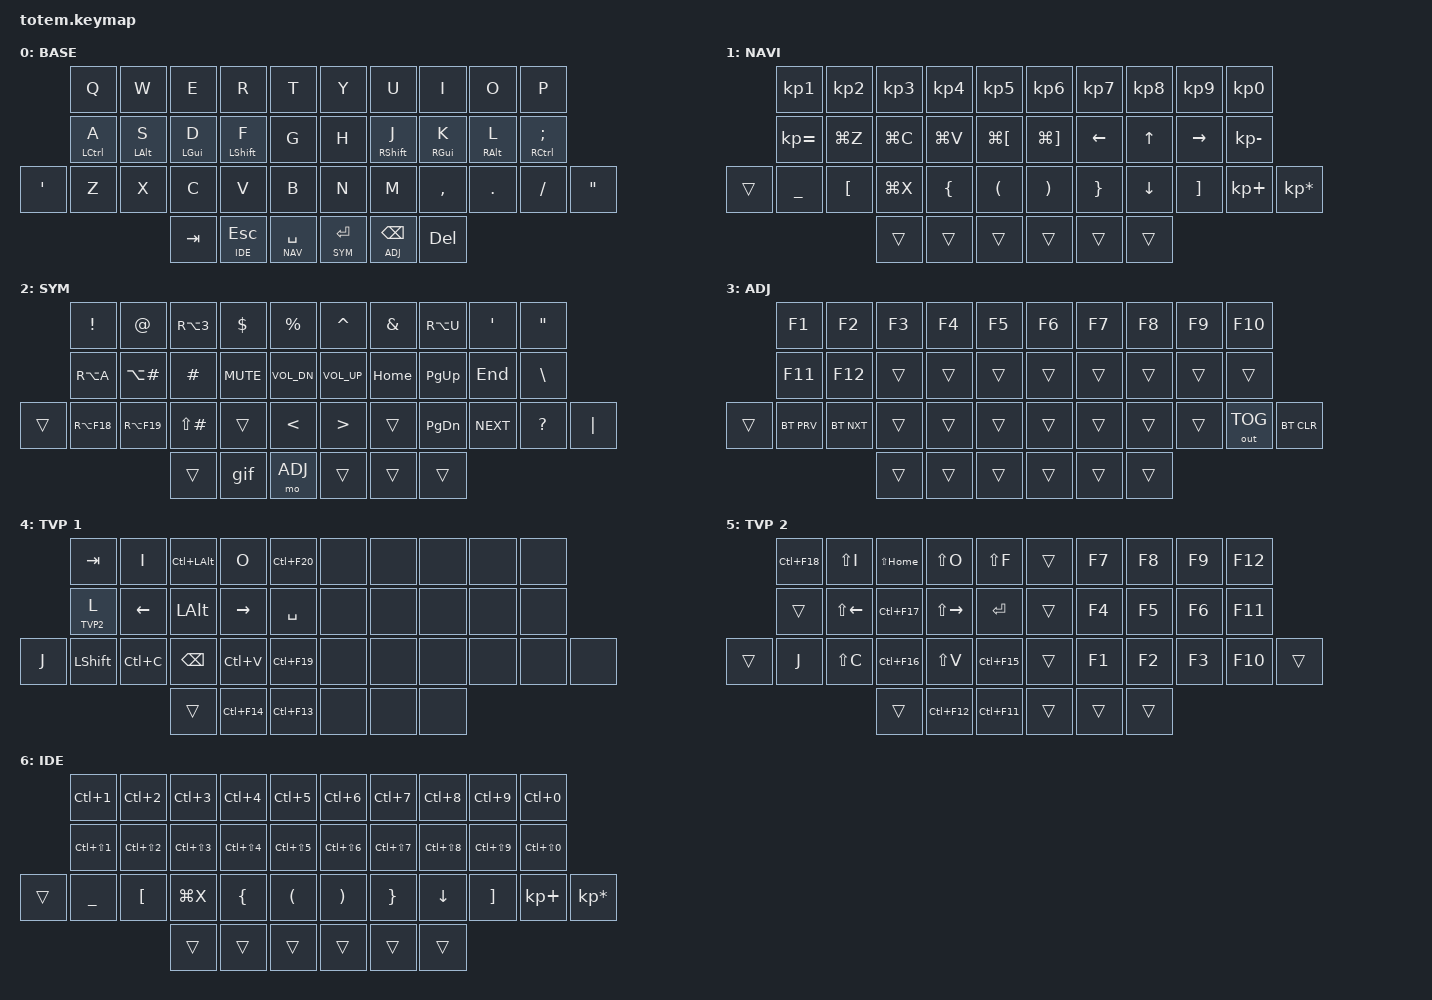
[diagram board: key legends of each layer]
//
//                                                        ▀▀▀▀▀     ▀▀▀▀▀          ▀▀█▀▀
//                                                        ▄▀▀▀▄  ▄  ▄▀▀▀▄  ▄  ▄▀▀▀▄  █  ▄▀▀▀▄
//                                                        █   █  █  █   █  █  █   █  █  █   █
//                                                         ▀▀▀   █   ▀▀▀   █   ▀▀▀   ▀   ▀▀▀
//                                                               █      ▄▄▄█▄▄▄    █   █  
//                                                               ▀      █  █  █     █▄█
//                                                             ▀▀▀▀▀    █  █  █      ▀
//                                                                      ▀  ▀  ▀
//
// ▄▄▄▄▄▄▄▄▄▄▄▄▄▄▄▄▄▄▄▄▄▄▄▄▄▄▄▄▄▄▄▄▄▄▄▄▄▄▄▄▄▄▄▄▄▄▄▄▄▄▄▄▄▄▄▄▄▄▄▄▄▄▄▄▄▄▄▄▄▄▄▄▄▄▄▄▄▄▄▄▄▄▄▄▄▄▄▄▄▄▄▄▄▄▄▄▄▄▄▄▄▄▄▄▄▄▄▄▄▄▄▄▄▄▄▄▄▄▄▄▄▄▄▄▄▄▄▄▄▄▄▄▄▄▄▄▄▄▄▄▄▄▄▄▄▄▄▄▄
       

#include <behaviors.dtsi>
#include <dt-bindings/zmk/keys.h>
#include <dt-bindings/zmk/bt.h>
#include <dt-bindings/zmk/outputs.h>

#define BASE 0
#define NAV  1
#define SYM  2
#define ADJ  3
#define TVP1 4
#define TVP2 5
#define IDE  6

&mt {
  quick-tap-ms = <100>;
  global-quick-tap;
  flavor = "tap-preferred";
  tapping-term-ms = <170>;
};

&lt {
  quick-tap-ms = <200>;
};

/ {
     combos {
            compatible = "zmk,combos";
            combo_esc {
                timeout-ms = <50>;
                key-positions = <0 1>;
                bindings = <&kp ESC>;
            };
            combo_tvp {
                timeout-ms = <100>;
                key-positions = <11 12 13>;
                bindings = <&tog TVP1>;
            };
    };

    macros {
        gif: gif {
            label = "giphy";
            compatible = "zmk,behavior-macro";
            #binding-cells = <0>;
            bindings
                = <&macro_press &kp LSHFT>
                , <&macro_tap &kp N2>
                , <&macro_release &kp LSHFT>
                , <&macro_tap &kp G &kp I &kp F>
                ;
        };
    };

        keymap {
                compatible = "zmk,keymap";
// Missing features
// * control + y for deleting an entire line
// * selecting text with shift and cursor keys
// * multiple keypresses when key is being hold
// * revert of undo (control + shift + z)  redo
// * control + shift + arrow key doesn't work for moving cursor an entire word at a time
// * paste without format (control + shift + v)
// ▄▄▄▄▄▄▄▄▄▄▄▄▄▄▄▄▄▄▄▄▄▄▄▄▄▄▄▄▄▄▄▄▄▄▄▄▄▄▄▄▄▄▄▄▄▄▄▄▄▄▄▄▄▄▄▄▄▄▄▄▄▄▄▄▄▄▄▄▄▄▄▄▄▄▄▄▄▄▄▄▄▄▄▄▄▄▄▄▄▄▄▄▄▄▄▄▄▄▄▄▄▄▄▄▄▄▄▄▄▄▄▄▄▄▄▄▄▄▄▄▄▄▄▄▄▄▄▄▄▄▄▄▄▄▄▄▄▄▄▄▄▄▄▄▄▄▄▄▄

                base_layer {
// ┏━━━━━━━━━━━━━━━━━━━━━━━━━━━━━━━━━━━━━━━┓
label= "BASE"                              ;
// ┗━━━━━━━━━━━━━━━━━━━━━━━━━━━━━━━━━━━━━━━┛
//             ┏━━━━━━━━━━━┳━━━━━━━━━━━┳━━━━━━━━━━━┳━━━━━━━━━━━┳━━━━━━━━━━━┓   ┏━━━━━━━━━━━┳━━━━━━━━━━━┳━━━━━━━━━━━┳━━━━━━━━━━━┳━━━━━━━━━━━┓
//             ┃     Q     ┃     W     ┃     E     ┃     R     ┃     T     ┃   ┃     Y     ┃     U     ┃     I     ┃     O     ┃     P     ┃
//             ┣━━━━━━━━━━━╋━━━━━━━━━━━╋━━━━━━━━━━━╋━━━━━━━━━━━╋━━━━━━━━━━━┫   ┣━━━━━━━━━━━╋━━━━━━━━━━━╋━━━━━━━━━━━╋━━━━━━━━━━━╋━━━━━━━━━━━┫
//             ┃     A     ┃     S     ┃     D     ┃     F     ┃     G     ┃   ┃     H     ┃     J     ┃     K     ┃     L     ┃     ;     ┃
// ┏━━━━━━━━━━━╋━━━━━━━━━━━╋━━━━━━━━━━━╋━━━━━━━━━━━╋━━━━━━━━━━━╋━━━━━━━━━━━┫   ┣━━━━━━━━━━━╋━━━━━━━━━━━╋━━━━━━━━━━━╋━━━━━━━━━━━╋━━━━━━━━━━━╋━━━━━━━━━━━┓
// ┃     '     ┃     Z     ┃     X     ┃     C     ┃     V     ┃     B     ┃   ┃     N     ┃     M     ┃     ,     ┃     .     ┃     /     ┃     "     ┃
// ┗━━━━━━━━━━━┻━━━━━━━━━━━┻━━━━━━━━━━━╋━━━━━━━━━━━╋━━━━━━━━━━━╋━━━━━━━━━━━┫   ┣━━━━━━━━━━━╋━━━━━━━━━━━╋━━━━━━━━━━━╋━━━━━━━━━━━┻━━━━━━━━━━━┻━━━━━━━━━━━┛
//                                     ┃     TAB   ┃    ESC    ┃    SPC    ┃   ┃   ENTER   ┃    BSPC   ┃    DEL    ┃
//                                     ┗━━━━━━━━━━━┻━━━━━━━━━━━┻━━━━━━━━━━━┛   ┗━━━━━━━━━━━┻━━━━━━━━━━━┻━━━━━━━━━━━┛
 bindings = <
// ╷           ╷           ╷           ╷           ╷           ╷           ╷   ╷           ╷           ╷           ╷           ╷           ╷           ╷

                &kp Q       &kp W       &kp E       &kp R       &kp T           &kp Y       &kp U       &kp I       &kp O       &kp P
                &mt LCTRL A &mt LALT S  &mt LGUI D  &mt LSHFT F &kp G           &kp H       &mt RSHFT J &mt RGUI K  &mt RALT L  &mt RCTRL SEMICOLON
    &kp SQT     &kp Z       &kp X       &kp C       &kp V       &kp B           &kp N       &kp M       &kp COMMA   &kp DOT     &kp FSLH    &kp DQT
                                        &kp TAB     &lt IDE ESC &lt NAV SPACE   &lt SYM RET &lt ADJ BSPC &kp DEL
                        >;
                };

// ▄▄▄▄▄▄▄▄▄▄▄▄▄▄▄▄▄▄▄▄▄▄▄▄▄▄▄▄▄▄▄▄▄▄▄▄▄▄▄▄▄▄▄▄▄▄▄▄▄▄▄▄▄▄▄▄▄▄▄▄▄▄▄▄▄▄▄▄▄▄▄▄▄▄▄▄▄▄▄▄▄▄▄▄▄▄▄▄▄▄▄▄▄▄▄▄▄▄▄▄▄▄▄▄▄▄▄▄▄▄▄▄▄▄▄▄▄▄▄▄▄▄▄▄▄▄▄▄▄▄▄▄▄▄▄▄▄▄▄▄▄▄▄▄▄▄▄▄▄

                nav_layer {
// ┏━━━━━━━━━━━━━━━━━━━━━━━━━━━━━━━━━━━━━━━┓
label= "NAVI"                              ;
// ┗━━━━━━━━━━━━━━━━━━━━━━━━━━━━━━━━━━━━━━━┛
//             ┏━━━━━━━━━━━┳━━━━━━━━━━━┳━━━━━━━━━━━┳━━━━━━━━━━━┳━━━━━━━━━━━┓   ┏━━━━━━━━━━━┳━━━━━━━━━━━┳━━━━━━━━━━━┳━━━━━━━━━━━┳━━━━━━━━━━━┓
//             ┃     1     ┃     2     ┃     3     ┃     4     ┃     5     ┃   ┃     6     ┃     7     ┃     8     ┃     9     ┃     0     ┃
//             ┣━━━━━━━━━━━╋━━━━━━━━━━━╋━━━━━━━━━━━╋━━━━━━━━━━━╋━━━━━━━━━━━┫   ┣━━━━━━━━━━━╋━━━━━━━━━━━╋━━━━━━━━━━━╋━━━━━━━━━━━╋━━━━━━━━━━━┫
//             ┃     =     ┃   UNDO    ┃   COPY    ┃   PASTE   ┃   LAST    ┃   ┃   NEXT    ┃   LEFT    ┃     UP    ┃   RIGHT   ┃     -     ┃
// ┏━━━━━━━━━━━╋━━━━━━━━━━━╋━━━━━━━━━━━╋━━━━━━━━━━━╋━━━━━━━━━━━╋━━━━━━━━━━━┫   ┣━━━━━━━━━━━╋━━━━━━━━━━━╋━━━━━━━━━━━╋━━━━━━━━━━━╋━━━━━━━━━━━╋━━━━━━━━━━━┓
// ┃           ┃     _     ┃     [     ┃    CUT    ┃     {     ┃     (     ┃   ┃     )     ┃     }     ┃    DOWN   ┃     ]     ┃     +     ┃     *     ┃
// ┗━━━━━━━━━━━┻━━━━━━━━━━━┻━━━━━━━━━━━╋━━━━━━━━━━━╋━━━━━━━━━━━╋━━━━━━━━━━━┫   ┣━━━━━━━━━━━╋━━━━━━━━━━━╋━━━━━━━━━━━╋━━━━━━━━━━━┻━━━━━━━━━━━┻━━━━━━━━━━━┛
//                                     ┃           ┃           ┃           ┃   ┃           ┃           ┃           ┃
//                                     ┗━━━━━━━━━━━┻━━━━━━━━━━━┻━━━━━━━━━━━┛   ┗━━━━━━━━━━━┻━━━━━━━━━━━┻━━━━━━━━━━━┛
 bindings = <
// ╷           ╷           ╷           ╷           ╷           ╷           ╷   ╷           ╷           ╷           ╷           ╷           ╷           ╷

                &kp KP_N1   &kp KP_N2   &kp KP_N3   &kp KP_N4   &kp KP_N5       &kp KP_N6   &kp KP_N7   &kp KP_N8   &kp KP_N9   &kp KP_N0
                &kp KP_EQUAL &kp LG(Z)   &kp LG(C)  &kp LG(V)   &kp LG(LBKT)    &kp LG(RBKT)  &kp LEFT    &kp UP      &kp RIGHT   &kp KP_MINUS
    &trans      &kp UNDER   &kp LBKT    &kp LG(X)   &kp LBRC    &kp LPAR        &kp RPAR    &kp RBRC    &kp DOWN    &kp RBKT    &kp KP_PLUS &kp KP_MULTIPLY
                                        &trans      &trans      &trans          &trans      &trans      &trans
                        >;
                };

// ▄▄▄▄▄▄▄▄▄▄▄▄▄▄▄▄▄▄▄▄▄▄▄▄▄▄▄▄▄▄▄▄▄▄▄▄▄▄▄▄▄▄▄▄▄▄▄▄▄▄▄▄▄▄▄▄▄▄▄▄▄▄▄▄▄▄▄▄▄▄▄▄▄▄▄▄▄▄▄▄▄▄▄▄▄▄▄▄▄▄▄▄▄▄▄▄▄▄▄▄▄▄▄▄▄▄▄▄▄▄▄▄▄▄▄▄▄▄▄▄▄▄▄▄▄▄▄▄▄▄▄▄▄▄▄▄▄▄▄▄▄▄▄▄▄▄▄▄▄


                sim_layer {
// ┏━━━━━━━━━━━━━━━━━━━━━━━━━━━━━━━━━━━━━━━┓
label= "SYM"                               ;
// ┗━━━━━━━━━━━━━━━━━━━━━━━━━━━━━━━━━━━━━━━┛
//             ┏━━━━━━━━━━━┳━━━━━━━━━━━┳━━━━━━━━━━━┳━━━━━━━━━━━┳━━━━━━━━━━━┓   ┏━━━━━━━━━━━┳━━━━━━━━━━━┳━━━━━━━━━━━┳━━━━━━━━━━━┳━━━━━━━━━━━┓
//             ┃     !     ┃     @     ┃     #     ┃     $     ┃     %     ┃   ┃     ˆ     ┃     &     ┃     Ü     ┃     '     ┃     "     ┃
//             ┣━━━━━━━━━━━╋━━━━━━━━━━━╋━━━━━━━━━━━╋━━━━━━━━━━━╋━━━━━━━━━━━┫   ┣━━━━━━━━━━━╋━━━━━━━━━━━╋━━━━━━━━━━━╋━━━━━━━━━━━╋━━━━━━━━━━━┫
//             ┃     Ä     ┃           ┃     £     ┃   MUTE    ┃   VOL-    ┃   ┃   VOL+    ┃   HOME    ┃   PG_UP   ┃    END    ┃     \     ┃
// ┏━━━━━━━━━━━╋━━━━━━━━━━━╋━━━━━━━━━━━╋━━━━━━━━━━━╋━━━━━━━━━━━╋━━━━━━━━━━━┫   ┣━━━━━━━━━━━╋━━━━━━━━━━━╋━━━━━━━━━━━╋━━━━━━━━━━━╋━━━━━━━━━━━╋━━━━━━━━━━━┓
// ┃           ┃  EMAIL1   ┃  EMAIL2   ┃           ┃           ┃    <      ┃   ┃     >     ┃           ┃   PG_DN   ┃   NEXT    ┃     ?     ┃     |     ┃
// ┗━━━━━━━━━━━┻━━━━━━━━━━━┻━━━━━━━━━━━╋━━━━━━━━━━━╋━━━━━━━━━━━╋━━━━━━━━━━━┫   ┣━━━━━━━━━━━╋━━━━━━━━━━━╋━━━━━━━━━━━╋━━━━━━━━━━━┻━━━━━━━━━━━┻━━━━━━━━━━━┛
//                                     ┃           ┃    GIF    ┃    ADJ    ┃   ┃           ┃           ┃           ┃
//                                     ┗━━━━━━━━━━━┻━━━━━━━━━━━┻━━━━━━━━━━━┛   ┗━━━━━━━━━━━┻━━━━━━━━━━━┻━━━━━━━━━━━┛
 bindings = <
// ╷           ╷           ╷           ╷           ╷           ╷           ╷   ╷           ╷           ╷           ╷           ╷           ╷           ╷

                &kp EXCL    &kp AT      &kp RA(N3)   &kp DLLR   &kp PRCNT       &kp CARET   &kp AMPS    &kp RA(U)   &kp SQT     &kp DQT
                &kp RA(A)   &kp LA(HASH) &kp HASH    &kp C_MUTE  &kp C_VOL_DN    &kp C_VOL_UP  &kp HOME  &kp PG_UP   &kp END     &kp BSLH
    &trans      &kp RA(F18) &kp RA(F19) &kp LS(HASH)     &trans      &kp LT          &kp GT      &trans      &kp PG_DN   &kp C_NEXT  &kp QMARK   &kp PIPE
                                        &trans      &gif        &mo ADJ         &trans      &trans      &trans
                        >;
                };

// ▄▄▄▄▄▄▄▄▄▄▄▄▄▄▄▄▄▄▄▄▄▄▄▄▄▄▄▄▄▄▄▄▄▄▄▄▄▄▄▄▄▄▄▄▄▄▄▄▄▄▄▄▄▄▄▄▄▄▄▄▄▄▄▄▄▄▄▄▄▄▄▄▄▄▄▄▄▄▄▄▄▄▄▄▄▄▄▄▄▄▄▄▄▄▄▄▄▄▄▄▄▄▄▄▄▄▄▄▄▄▄▄▄▄▄▄▄▄▄▄▄▄▄▄▄▄▄▄▄▄▄▄▄▄▄▄▄▄▄▄▄▄▄▄▄▄▄▄▄


                adjust_layer {
// ┏━━━━━━━━━━━━━━━━━━━━━━━━━━━━━━━━━━━━━━━┓
label= "ADJ"                               ;
// ┗━━━━━━━━━━━━━━━━━━━━━━━━━━━━━━━━━━━━━━━┛
//             ┏━━━━━━━━━━━┳━━━━━━━━━━━┳━━━━━━━━━━━┳━━━━━━━━━━━┳━━━━━━━━━━━┓   ┏━━━━━━━━━━━┳━━━━━━━━━━━┳━━━━━━━━━━━┳━━━━━━━━━━━┳━━━━━━━━━━━┓
//             ┃    F1     ┃    F2     ┃    F3     ┃    F4     ┃    F5     ┃   ┃    F6     ┃    F7     ┃    F8     ┃    F9     ┃    F10    ┃
//             ┣━━━━━━━━━━━╋━━━━━━━━━━━╋━━━━━━━━━━━╋━━━━━━━━━━━╋━━━━━━━━━━━┫   ┣━━━━━━━━━━━╋━━━━━━━━━━━╋━━━━━━━━━━━╋━━━━━━━━━━━╋━━━━━━━━━━━┫
//             ┃    F11    ┃    F12    ┃           ┃           ┃           ┃   ┃           ┃           ┃           ┃           ┃           ┃
// ┏━━━━━━━━━━━╋━━━━━━━━━━━╋━━━━━━━━━━━╋━━━━━━━━━━━╋━━━━━━━━━━━╋━━━━━━━━━━━┫   ┣━━━━━━━━━━━╋━━━━━━━━━━━╋━━━━━━━━━━━╋━━━━━━━━━━━╋━━━━━━━━━━━╋━━━━━━━━━━━┓
// ┃           ┃ BT PREV   ┃ BT NEXT   ┃           ┃           ┃           ┃   ┃           ┃           ┃           ┃           ┃  OUT TOG  ┃ BT CLEAR  ┃
// ┗━━━━━━━━━━━┻━━━━━━━━━━━┻━━━━━━━━━━━╋━━━━━━━━━━━╋━━━━━━━━━━━╋━━━━━━━━━━━┫   ┣━━━━━━━━━━━╋━━━━━━━━━━━╋━━━━━━━━━━━╋━━━━━━━━━━━┻━━━━━━━━━━━┻━━━━━━━━━━━┛
//                                     ┃           ┃           ┃           ┃   ┃           ┃           ┃           ┃
//                                     ┗━━━━━━━━━━━┻━━━━━━━━━━━┻━━━━━━━━━━━┛   ┗━━━━━━━━━━━┻━━━━━━━━━━━┻━━━━━━━━━━━┛
 bindings = <
// ╷           ╷           ╷           ╷           ╷           ╷           ╷   ╷           ╷           ╷           ╷           ╷           ╷           ╷

                &kp F1      &kp F2      &kp F3      &kp F4      &kp F5          &kp F6      &kp F7      &kp F8      &kp F9      &kp F10
                &kp F11     &kp F12     &trans      &trans      &trans          &trans      &trans      &trans      &trans      &trans
    &trans      &bt BT_PRV  &bt BT_NXT  &trans      &trans      &trans          &trans      &trans      &trans      &trans      &out OUT_TOG &bt BT_CLR
                                        &trans      &trans      &trans          &trans      &trans      &trans      
                        >;
                };

// ▄▄▄▄▄▄▄▄▄▄▄▄▄▄▄▄▄▄▄▄▄▄▄▄▄▄▄▄▄▄▄▄▄▄▄▄▄▄▄▄▄▄▄▄▄▄▄▄▄▄▄▄▄▄▄▄▄▄▄▄▄▄▄▄▄▄▄▄▄▄▄▄▄▄▄▄▄▄▄▄▄▄▄▄▄▄▄▄▄▄▄▄▄▄▄▄▄▄▄▄▄▄▄▄▄▄▄▄▄▄▄▄▄▄▄▄▄▄▄▄▄▄▄▄▄▄▄▄▄▄▄▄▄▄▄▄▄▄▄▄▄▄▄▄▄▄▄▄▄


                tvp1_layer {
// ┏━━━━━━━━━━━━━━━━━━━━━━━━━━━━━━━━━━━━━━━┓
label= "TVP 1"                             ;
// ┗━━━━━━━━━━━━━━━━━━━━━━━━━━━━━━━━━━━━━━━┛
//             ┏━━━━━━━━━━━┳━━━━━━━━━━━┳━━━━━━━━━━━┳━━━━━━━━━━━┳━━━━━━━━━━━┓   ┏━━━━━━━━━━━┳━━━━━━━━━━━┳━━━━━━━━━━━┳━━━━━━━━━━━┳━━━━━━━━━━━┓
//             ┃ NEXT FILE ┃ MARK IN   ┃ ROTATE    ┃ MARK OUT  ┃ SHOW SNAP ┃   ┃           ┃           ┃           ┃           ┃           ┃
//             ┣━━━━━━━━━━━╋━━━━━━━━━━━╋━━━━━━━━━━━╋━━━━━━━━━━━╋━━━━━━━━━━━┫   ┣━━━━━━━━━━━╋━━━━━━━━━━━╋━━━━━━━━━━━╋━━━━━━━━━━━╋━━━━━━━━━━━┫
//             ┃ TVP II    ┃ LEFT      ┃ PAN       ┃ RIGHT     ┃ PLAY/FLIP ┃   ┃           ┃           ┃           ┃           ┃           ┃
// ┏━━━━━━━━━━━╋━━━━━━━━━━━╋━━━━━━━━━━━╋━━━━━━━━━━━╋━━━━━━━━━━━╋━━━━━━━━━━━┫   ┣━━━━━━━━━━━╋━━━━━━━━━━━╋━━━━━━━━━━━╋━━━━━━━━━━━╋━━━━━━━━━━━╋━━━━━━━━━━━┓
// ┃ FULLSCR   ┃ SHIFT     ┃ COPY      ┃ DELETE    ┃ PASTE     ┃ IMG MARK  ┃   ┃           ┃           ┃           ┃           ┃           ┃           ┃
// ┗━━━━━━━━━━━┻━━━━━━━━━━━┻━━━━━━━━━━━╋━━━━━━━━━━━╋━━━━━━━━━━━╋━━━━━━━━━━━┫   ┣━━━━━━━━━━━╋━━━━━━━━━━━╋━━━━━━━━━━━╋━━━━━━━━━━━┻━━━━━━━━━━━┻━━━━━━━━━━━┛
//                                     ┃           ┃ UNDO/SAVE ┃  SEL/MOV  ┃   ┃           ┃           ┃           ┃
//                                     ┗━━━━━━━━━━━┻━━━━━━━━━━━┻━━━━━━━━━━━┛   ┗━━━━━━━━━━━┻━━━━━━━━━━━┻━━━━━━━━━━━┛
 bindings = <
// ╷           ╷           ╷           ╷           ╷           ╷           ╷   ╷           ╷           ╷           ╷           ╷           ╷           ╷

                &kp TAB     &kp I       &kp LC(LALT) &kp O      &kp LC(F20)     &none       &none       &none       &none       &none
                &lt TVP2 L  &kp LEFT    &kp LALT    &kp RIGHT   &kp SPACE       &none       &none       &none       &none       &none
    &kp J       &kp LSHFT   &kp LC(C)   &kp BSPC    &kp LC(V)   &kp LC(F19)     &none       &none       &none       &none       &none       &none        
                                        &trans      &kp LC(F14) &kp LC(F13)     &none       &none       &none    
                        >;
                };

// ▄▄▄▄▄▄▄▄▄▄▄▄▄▄▄▄▄▄▄▄▄▄▄▄▄▄▄▄▄▄▄▄▄▄▄▄▄▄▄▄▄▄▄▄▄▄▄▄▄▄▄▄▄▄▄▄▄▄▄▄▄▄▄▄▄▄▄▄▄▄▄▄▄▄▄▄▄▄▄▄▄▄▄▄▄▄▄▄▄▄▄▄▄▄▄▄▄▄▄▄▄▄▄▄▄▄▄▄▄▄▄▄▄▄▄▄▄▄▄▄▄▄▄▄▄▄▄▄▄▄▄▄▄▄▄▄▄▄▄▄▄▄▄▄▄▄▄▄▄


                tvp2_layer {
// ┏━━━━━━━━━━━━━━━━━━━━━━━━━━━━━━━━━━━━━━━┓
label= "TVP 2"                             ;
// ┗━━━━━━━━━━━━━━━━━━━━━━━━━━━━━━━━━━━━━━━┛
//             ┏━━━━━━━━━━━┳━━━━━━━━━━━┳━━━━━━━━━━━┳━━━━━━━━━━━┳━━━━━━━━━━━┓   ┏━━━━━━━━━━━┳━━━━━━━━━━━┳━━━━━━━━━━━┳━━━━━━━━━━━┳━━━━━━━━━━━┓
//             ┃ SOLO      ┃ TOGGLE IN ┃ RESET ROT ┃ TOGGLE OUT┃ TAKE SNAP ┃   ┃           ┃           ┃           ┃           ┃           ┃
//             ┣━━━━━━━━━━━╋━━━━━━━━━━━╋━━━━━━━━━━━╋━━━━━━━━━━━╋━━━━━━━━━━━┫   ┣━━━━━━━━━━━╋━━━━━━━━━━━╋━━━━━━━━━━━╋━━━━━━━━━━━╋━━━━━━━━━━━┫
//             ┃ ---       ┃ LAST KEY  ┃ NEW KEY   ┃ NEXT KEY  ┃ ENTER     ┃   ┃           ┃           ┃           ┃           ┃           ┃
// ┏━━━━━━━━━━━╋━━━━━━━━━━━╋━━━━━━━━━━━╋━━━━━━━━━━━╋━━━━━━━━━━━╋━━━━━━━━━━━┫   ┣━━━━━━━━━━━╋━━━━━━━━━━━╋━━━━━━━━━━━╋━━━━━━━━━━━╋━━━━━━━━━━━╋━━━━━━━━━━━┓
// ┃           ┃ FULLSCR   ┃ CPY2BRUSH ┃ DEL HEAD  ┃ PSTinPLACE┃ BOOK MARK ┃   ┃           ┃           ┃           ┃           ┃           ┃           ┃
// ┗━━━━━━━━━━━┻━━━━━━━━━━━┻━━━━━━━━━━━╋━━━━━━━━━━━╋━━━━━━━━━━━╋━━━━━━━━━━━┫   ┣━━━━━━━━━━━╋━━━━━━━━━━━╋━━━━━━━━━━━╋━━━━━━━━━━━┻━━━━━━━━━━━┻━━━━━━━━━━━┛
//                                     ┃           ┃ REDO/SAV1 ┃TRANS/WARP ┃   ┃           ┃           ┃           ┃
//                                     ┗━━━━━━━━━━━┻━━━━━━━━━━━┻━━━━━━━━━━━┛   ┗━━━━━━━━━━━┻━━━━━━━━━━━┻━━━━━━━━━━━┛
 bindings = <
// ╷           ╷           ╷           ╷           ╷           ╷           ╷   ╷           ╷           ╷           ╷           ╷           ╷           ╷

                &kp LC(F18) &kp LS(I)  &kp LS(HOME) &kp LS(O)   &kp LS(F)       &trans      &kp F7      &kp F8      &kp F9      &kp F12
                &trans      &kp LS(LEFT) &kp LC(F17) &kp LS(RIGHT) &kp RET      &trans      &kp F4      &kp F5      &kp F6      &kp F11  
    &trans      &kp J       &kp LS(C)   &kp LC(F16) &kp LS(V)   &kp LC(F15)     &trans      &kp F1      &kp F2      &kp F3      &kp F10     &trans         
                                        &trans      &kp LC(F12) &kp LC(F11)     &trans      &trans      &trans      
                        >;
                };

// ▄▄▄▄▄▄▄▄▄▄▄▄▄▄▄▄▄▄▄▄▄▄▄▄▄▄▄▄▄▄▄▄▄▄▄▄▄▄▄▄▄▄▄▄▄▄▄▄▄▄▄▄▄▄▄▄▄▄▄▄▄▄▄▄▄▄▄▄▄▄▄▄▄▄▄▄▄▄▄▄▄▄▄▄▄▄▄▄▄▄▄▄▄▄▄▄▄▄▄▄▄▄▄▄▄▄▄▄▄▄▄▄▄▄▄▄▄▄▄▄▄▄▄▄▄▄▄▄▄▄▄▄▄▄▄▄▄▄▄▄▄▄▄▄▄▄▄▄▄

              ide_layer {
// ┏━━━━━━━━━━━━━━━━━━━━━━━━━━━━━━━━━━━━━━━┓
label= "IDE"                               ;
// ┗━━━━━━━━━━━━━━━━━━━━━━━━━━━━━━━━━━━━━━━┛
//             ┏━━━━━━━━━━━┳━━━━━━━━━━━┳━━━━━━━━━━━┳━━━━━━━━━━━┳━━━━━━━━━━━┓   ┏━━━━━━━━━━━┳━━━━━━━━━━━┳━━━━━━━━━━━┳━━━━━━━━━━━┳━━━━━━━━━━━┓
//             ┃    BM1    ┃    BM2    ┃    BM3    ┃    BM4    ┃    BM5    ┃   ┃    BM6    ┃    BM7    ┃    BM8    ┃    BM9    ┃    BM0    ┃
//             ┣━━━━━━━━━━━╋━━━━━━━━━━━╋━━━━━━━━━━━╋━━━━━━━━━━━╋━━━━━━━━━━━┫   ┣━━━━━━━━━━━╋━━━━━━━━━━━╋━━━━━━━━━━━╋━━━━━━━━━━━╋━━━━━━━━━━━┫
//             ┃    BT1    ┃    BT2    ┃    BT3    ┃    BT4    ┃    BT5    ┃   ┃    BT6    ┃    BT7    ┃    BT8    ┃    BT9    ┃    BT0    ┃
// ┏━━━━━━━━━━━╋━━━━━━━━━━━╋━━━━━━━━━━━╋━━━━━━━━━━━╋━━━━━━━━━━━╋━━━━━━━━━━━┫   ┣━━━━━━━━━━━╋━━━━━━━━━━━╋━━━━━━━━━━━╋━━━━━━━━━━━╋━━━━━━━━━━━╋━━━━━━━━━━━┓
// ┃           ┃     _     ┃     [     ┃    CUT    ┃     {     ┃     (     ┃   ┃     )     ┃     }     ┃    DOWN   ┃     ]     ┃     +     ┃     *     ┃
// ┗━━━━━━━━━━━┻━━━━━━━━━━━┻━━━━━━━━━━━╋━━━━━━━━━━━╋━━━━━━━━━━━╋━━━━━━━━━━━┫   ┣━━━━━━━━━━━╋━━━━━━━━━━━╋━━━━━━━━━━━╋━━━━━━━━━━━┻━━━━━━━━━━━┻━━━━━━━━━━━┛
//                                     ┃           ┃           ┃           ┃   ┃           ┃           ┃           ┃
//                                     ┗━━━━━━━━━━━┻━━━━━━━━━━━┻━━━━━━━━━━━┛   ┗━━━━━━━━━━━┻━━━━━━━━━━━┻━━━━━━━━━━━┛
bindings = <
// ╷           ╷           ╷           ╷           ╷           ╷           ╷   ╷           ╷           ╷           ╷           ╷           ╷           ╷
                &kp LC(N1)  &kp LC(N2)  &kp LC(N3)  &kp LC(N4)  &kp LC(N5)      &kp LC(N6)  &kp LC(N7)  &kp LC(N8)  &kp LC(N9)  &kp LC(N0)
                &kp LC(LS(N1))  &kp LC(LS(N2)) &kp LC(LS(N3)) &kp LC(LS(N4))    &kp LC(LS(N5))  &kp LC(LS(N6))  &kp LC(LS(N7))   &kp LC(LS(N8))   &kp LC(LS(N9))   &kp LC(LS(N0))
    &trans      &kp UNDER   &kp LBKT    &kp LG(X)   &kp LBRC    &kp LPAR        &kp RPAR    &kp RBRC    &kp DOWN    &kp RBKT    &kp KP_PLUS &kp KP_MULTIPLY
                                        &trans      &trans      &trans          &trans      &trans      &trans
                      >;
              };

        };
};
